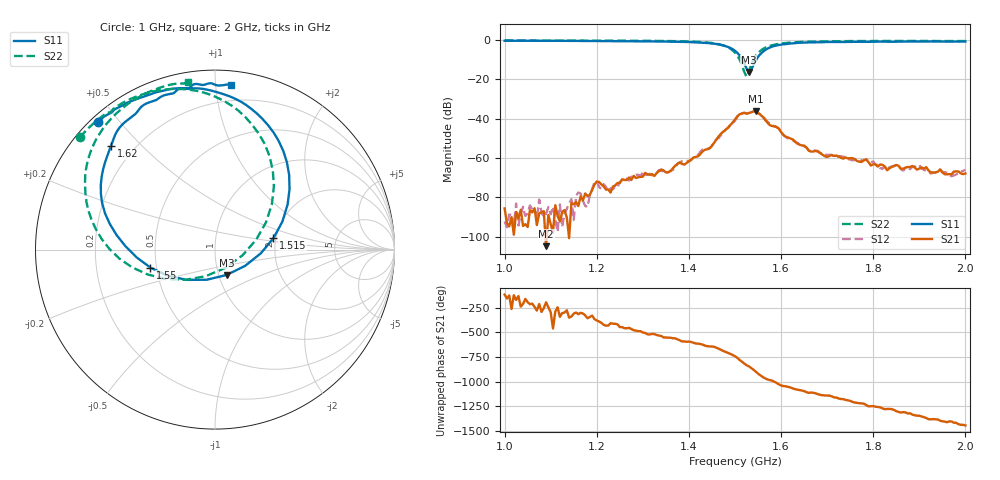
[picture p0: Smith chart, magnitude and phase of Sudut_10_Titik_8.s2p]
# Hz S RI R 50
! CMT, C1220, 16058040, 17.2.0/1
! Date: 14/08/2018 12:03:21
! Data: Format (Calibration Info)
! Freq  S11: Re/Im (F2)  S21: Re/Im (F2)  S12: Re/Im (F2)  S22: Re/Im (F2)
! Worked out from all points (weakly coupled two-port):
!   201 points, 1 GHz to 2 GHz, reference 50 ohm
!   highest |S21| = -36.17 dB at 1.545 GHz (marker M1); lowest = -104.8 dB at 1.09 GHz (marker M2)
!   lowest |S11| = -16.2 dB at 1.53 GHz (marker M3), VSWR 1.37, Z = 54.5 - j15.8 ohm
!   |S11| at or under -10 dB: 1.516 GHz to 1.546 GHz (30.11 MHz wide, 1.97 % of centre)
!   |S22| runs from -18.6 to -0.2 dB; largest |S21 - S12| = 0.00065
!   S11 on the Smith chart (normalised r, x): 1 GHz: 0.02, +0.44; 1.515 GHz: 1.94, +0.28; 1.55 GHz: 0.46, -0.11; 1.62 GHz: 0.12, +0.41; 2 GHz: 0.09, +1.10
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1e9  -0.6523 0.7096  -2.4e-05 -4.69e-05  5.71e-06 2.38e-05  -0.7536 0.6257
1.09e9  -0.5666 0.7744  -5.54e-06 1.57e-06  2.03e-05 3.28e-05  -0.6881 0.6931
1.17e9  -0.4836 0.8207  5.3e-05 6.49e-05  7.11e-05 3.98e-05  -0.6161 0.7515
1.2e9  -0.4419 0.8356  0.000239 -8.6e-05  0.000243 -8.57e-05  -0.5822 0.7651
1.23e9  -0.4047 0.8498  8.82e-05 -9.91e-05  9.9e-05 -0.000138  -0.5602 0.7887
1.255e9  -0.3592 0.8654  1.53e-05 -0.000289  7.03e-05 -0.000266  -0.5286 0.809
1.335e9  -0.2264 0.8976  -0.000463 -5.61e-05  -0.000496 -2.78e-07  -0.3996 0.8663
1.36e9  -0.1557 0.8984  -0.000456 0.000115  -0.000427 0.000168  -0.3437 0.8815
1.45e9  0.1736 0.8053  0.000469 0.00198  0.000613 0.00199  0.0248 0.8409
1.5e9  0.4153 0.337  0.00889 -0.00364  0.00831 -0.00341  0.3281 0.3517
1.515e9  0.3258 0.0636  0.00293 -0.0132  0.00337 -0.0133  0.2292 0.0549
1.525e9  0.167 -0.0911  -0.0053 -0.0124  -0.00528 -0.0126  0.0574 -0.102
1.53e9  0.0647 -0.1412  -0.00784 -0.0115  -0.00794 -0.0115  -0.0517 -0.1481
1.545e9  -0.2657 -0.1447  -0.0155 -0.000343  -0.0154 -0.000649  -0.3757 -0.1384
1.55e9  -0.3602 -0.1  -0.0134 0.0045  -0.0135 0.00402  -0.461 -0.0992
1.58e9  -0.6287 0.2587  -0.000103 0.00658  0.000241 0.00683  -0.7053 0.2174
1.62e9  -0.5796 0.5763  0.00294 0.00119  0.00272 0.00102  -0.7082 0.4975
1.67e9  -0.4577 0.7441  0.00125 -0.000786  0.00134 -0.000823  -0.6248 0.6734
1.835e9  -0.1579 0.8965  -0.000526 0.000152  -0.000504 0.000302  -0.3753 0.8748
1.9e9  -0.0673 0.9171  -4.47e-05 0.000538  4.76e-05 0.000661  -0.2834 0.9097
1.97e9  0.0395 0.9154  0.000313 0.00023  0.000319 0.000133  -0.1827 0.9251
2e9  0.0882 0.919  0.000405 -2.6e-05  0.000495 -6.72e-05  -0.1504 0.9336
